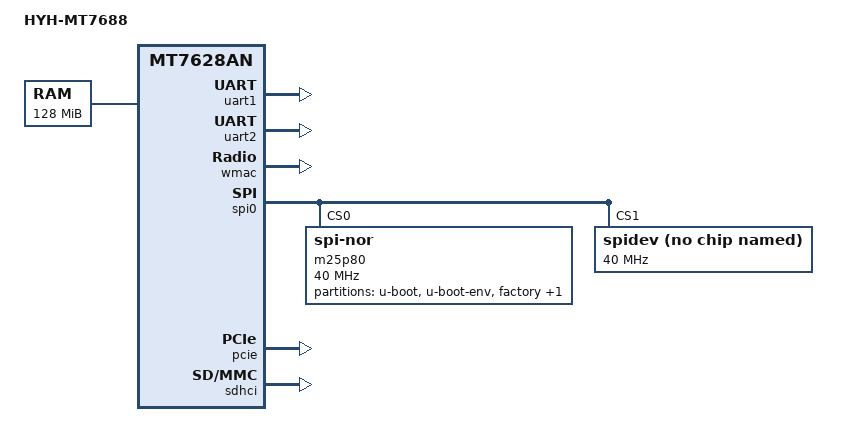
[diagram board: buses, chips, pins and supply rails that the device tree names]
/dts-v1/;

#include "mt7628an.dtsi"

#include <dt-bindings/gpio/gpio.h>
#include <dt-bindings/input/input.h>

/ {
	compatible = "HYH,HYH-MT7688", "mediatek,mt7628an-soc";

	model = "HYH-MT7688";

	chosen {
		bootargs = "console=ttyS0,115200";
	};

	memory@0 {
		device_type = "memory";
		reg = <0x0 0x8000000>;
	};


	wgpio: gpio-wifi {
		compatible = "mediatek,gpio-wifi";
		#address-cells = <1>;
		#size-cells = <0>;
		gpio-controller;
		#gpio-cells = <2>;
	};
};

&pinctrl {
	state_default: pinctrl0 {
		gpio {
			ralink,group = "gpio";
			ralink,function = "gpio";
		};

		perst {
			ralink,group = "perst";
			ralink,function = "gpio";
		};

		refclk {
			ralink,group = "refclk";
			ralink,function = "gpio";
		};

		i2s {
			ralink,group = "i2s";
			ralink,function = "gpio";
		};

		spis {
			ralink,group = "spis";
			ralink,function = "gpio";
		};

		wled_kn {
			ralink,group = "wled_kn";
			ralink,function = "gpio";
		};

		wled_an {
			ralink,group = "wled_an";
			ralink,function = "wled_an";
		};

		wdt {
			ralink,group = "wdt";
			ralink,function = "gpio";
		};
	};
};



&uart1 {
	status = "okay";
};

&uart2 {
	status = "okay";
};

&ethernet {
	mtd-mac-address = <&factory 0x28>;
};

&wmac {
	status = "okay";
};



&spi0 {
	status = "okay";

	pinctrl-names = "default";
	pinctrl-0 = <&spi_pins>, <&spi_cs1_pins>;

	m25p80@0 {
		compatible = "jedec,spi-nor";
		reg = <0>;
		spi-max-frequency = <40000000>;

		partitions {
			compatible = "fixed-partitions";
			#address-cells = <1>;
			#size-cells = <1>;

			partition@0 {
				label = "u-boot";
				reg = <0x0 0x30000>;
				read-only;
			};

			partition@30000 {
				label = "u-boot-env";
				reg = <0x30000 0x10000>;
			};

			factory: partition@40000 {
				label = "factory";
				reg = <0x40000 0x10000>;
				read-only;
			};

			partition@50000 {
				compatible = "denx,uimage";
				label = "firmware";
				reg = <0x50000 0x0fb0000>;
			};
		};
	};

	spidev@1 {
		#address-cells = <1>;
		#size-cells = <1>;
		compatible = "linux,spidev";
		reg = <1>;
		spi-max-frequency = <40000000>;
	};
};

&pcie {
	status = "okay";
};

&sdhci {
	status = "okay";
};
